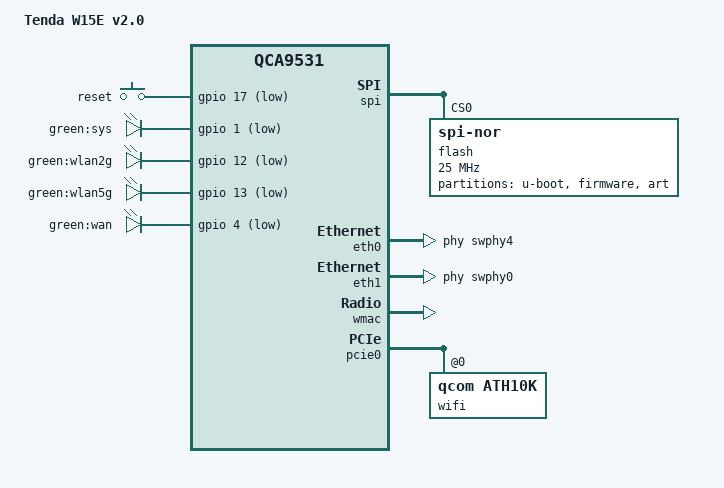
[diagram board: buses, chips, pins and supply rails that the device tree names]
// SPDX-License-Identifier: GPL-2.0-or-later OR MIT

/dts-v1/;

#include "qca953x.dtsi"

#include <dt-bindings/gpio/gpio.h>
#include <dt-bindings/input/input.h>

/ {
	compatible = "tenda,w15e-v2", "qca,qca9531";
	model = "Tenda W15E v2.0";

	aliases {
		led-boot = &led_sys;
		led-failsafe = &led_sys;
		led-running = &led_sys;
		led-upgrade = &led_sys;
		label-mac-device = &eth0;
	};

	keys {
		compatible = "gpio-keys";

		reset {
			label = "reset";
			linux,code = <KEY_RESTART>;
			gpios = <&gpio 17 GPIO_ACTIVE_LOW>;
			debounce-interval = <60>;
		};
	};

	leds {
		compatible = "gpio-leds";

		led_sys: sys {
			label = "green:sys";
			gpios = <&gpio 1 GPIO_ACTIVE_LOW>;
			default-state = "on";
		};

		wlan2g {
			label = "green:wlan2g";
			gpios = <&gpio 12 GPIO_ACTIVE_LOW>;
			linux,default-trigger = "phy0tpt";
		};

		wlan5g {
			label = "green:wlan5g";
			gpios = <&gpio 13 GPIO_ACTIVE_LOW>;
			linux,default-trigger = "phy1tpt";
		};

		wan {
			label = "green:wan";
			gpios = <&gpio 4 GPIO_ACTIVE_LOW>;
		};
	};
};

&spi {
	status = "okay";

	flash@0 {
		compatible = "jedec,spi-nor";
		reg = <0>;
		spi-max-frequency = <25000000>;

		partitions {
			compatible = "fixed-partitions";
			#address-cells = <1>;
			#size-cells = <1>;

			partition@0 {
				label = "u-boot";
				reg = <0x000000 0x040000>;
				read-only;
			};

			partition@40000 {
				label = "firmware";
				reg = <0x040000 0xfb0000>;
				compatible = "denx,uimage";
			};

			art: partition@ff0000 {
				label = "art";
				reg = <0xff0000 0x010000>;
				read-only;
			};
		};
	};
};

&eth0 {
	status = "okay";
	phy-handle = <&swphy4>;

	nvmem-cells = <&macaddr_art_0>;
	nvmem-cell-names = "mac-address";
};

&eth1 {
	status = "okay";
	phy-handle = <&swphy0>;

	nvmem-cells = <&macaddr_art_0>;
	nvmem-cell-names = "mac-address";
	mac-address-increment = <1>;
};

&wmac {
	status = "okay";
	mtd-cal-data = <&art 0x1000>;

	nvmem-cells = <&macaddr_art_0>;
	nvmem-cell-names = "mac-address";
};

&pcie0 {
	status = "okay";

	wifi@0,0 {
		compatible = "qcom,ath10k";
		reg = <0 0 0 0 0>;
		mtd-cal-data = <&art 0x5000>;
		device_type = "pci";

		nvmem-cells = <&macaddr_art_0>;
		nvmem-cell-names = "mac-address";
		mac-address-increment = <2>;
	};
};

&art {
	compatible = "nvmem-cells";
	#address-cells = <1>;
	#size-cells = <1>;

	macaddr_art_0: macaddr@0 {
		reg = <0x0 0x6>;
	};
};
